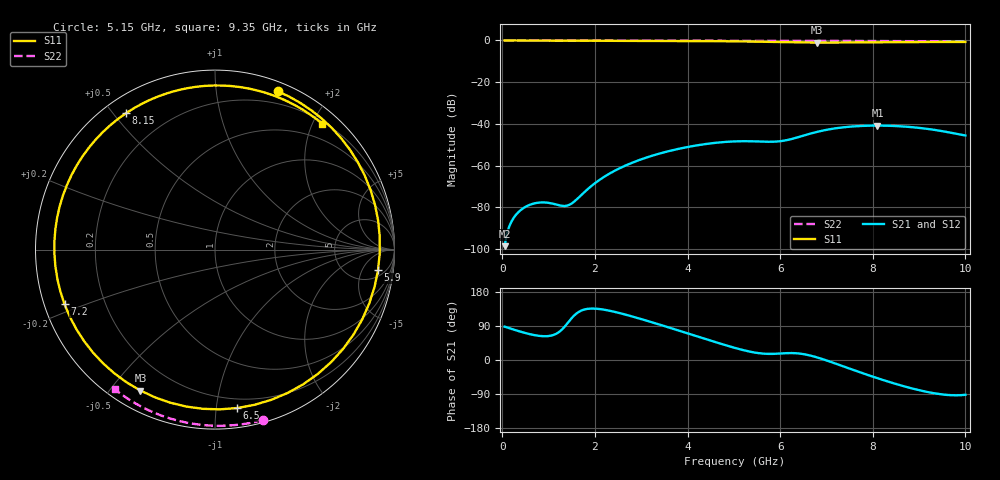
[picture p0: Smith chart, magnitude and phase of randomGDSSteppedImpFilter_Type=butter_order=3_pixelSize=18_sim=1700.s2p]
! freq	dB(S11)	phase(S11)	dB(S12)	phase(S12)
!  dB(S21)	phase(S21)	dB(S22)	phase(S22)
!S-par simulation data
#  GHz  S  DB  R 50
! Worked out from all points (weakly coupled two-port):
!   200 points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, 50 MHz to 10 GHz, reference 50 ohm
!   highest |S21| = -40.79 dB at 8.1 GHz (marker M1); lowest = -98.6 dB at 50 MHz (marker M2)
!   lowest |S11| = -1.0 dB at 6.8 GHz (marker M3), VSWR 16.93, Z = 4.02 - j30 ohm
!   |S11| at or under -10 dB: nowhere
!   |S22| runs from -0.4 to 0.0 dB; largest |S21 - S12| = 0
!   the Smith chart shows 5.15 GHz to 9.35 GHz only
!   S11 on the Smith chart (normalised r, x): 5.15 GHz: 0.08, +1.47; 5.9 GHz: 8, -11; 6.5 GHz: 0.13, -1.14; 7.2 GHz: 0.06, -0.18; 8.15 GHz: 0.06, +0.54; 9.35 GHz: 0.23, +2.14
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0.05  -0.00 -3.3  -98.56 88.0  -98.56 88.0  -0.00 -0.8
0.95  -0.08 -60.5  -77.68 62.7  -77.68 62.7  -0.02 -14.5
1.4  -0.11 -86.6  -79.14 95.8  -79.14 95.8  -0.03 -21.3
1.75  -0.13 -105.7  -73.14 132.4  -73.14 132.4  -0.03 -26.6
2.6  -0.17 -148.1  -60.54 121.7  -60.54 121.7  -0.05 -39.1
3.4  -0.21 173.7  -54.16 93.3  -54.16 93.3  -0.07 -50.5
4.2  -0.28 132.4  -50.26 62.7  -50.26 62.7  -0.09 -61.7
5.05  -0.43 76.4  -48.34 31.0  -48.34 31.0  -0.11 -73.1
5.15  -0.46 68.3  -48.28 27.7  -48.28 27.7  -0.12 -74.4
5.6  -0.62 26.3  -48.46 17.2  -48.46 17.2  -0.13 -80.3
5.9  -0.77 -7.2  -48.46 16.4  -48.46 16.4  -0.14 -84.1
6.15  -0.89 -37.8  -47.72 18.1  -47.72 18.1  -0.15 -87.3
6.5  -1.00 -82.0  -45.61 15.6  -45.61 15.6  -0.17 -91.7
6.7  -1.02 -106.3  -44.35 10.2  -44.35 10.2  -0.18 -94.2
6.8  -1.03 -117.9  -43.78 6.8  -43.78 6.8  -0.19 -95.4
7.2  -0.99 -160.0  -42.08 -9.6  -42.08 -9.6  -0.21 -100.3
7.6  -0.93 164.4  -41.15 -27.1  -41.15 -27.1  -0.23 -105.1
8.1  -0.85 126.6  -40.79 -48.0  -40.79 -48.0  -0.27 -111.1
8.15  -0.84 123.1  -40.79 -50.0  -40.79 -50.0  -0.27 -111.6
8.35  -0.82 109.7  -40.87 -57.7  -40.87 -57.7  -0.29 -114.0
9.35  -0.71 49.6  -42.91 -88.2  -42.91 -88.2  -0.38 -125.6
10  -0.71 14.4  -45.54 -91.8  -45.54 -91.8  -0.44 -133.1
